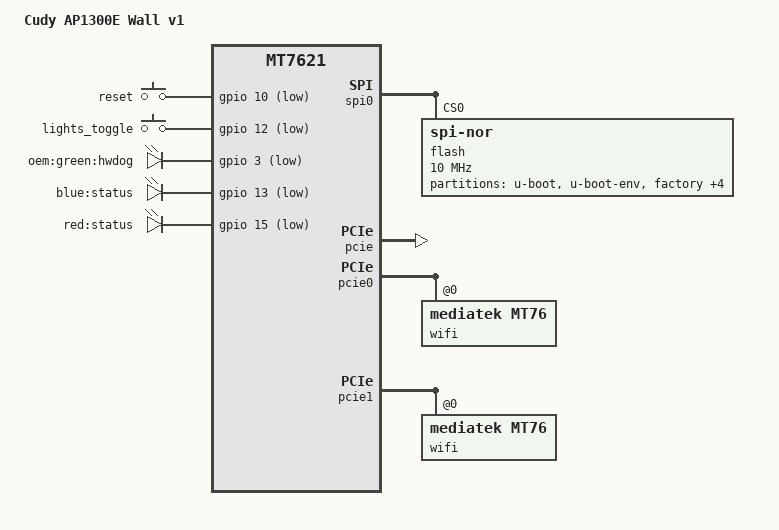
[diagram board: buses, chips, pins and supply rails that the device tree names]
// SPDX-License-Identifier: GPL-2.0-or-later OR MIT

#include "mt7621.dtsi"

#include <dt-bindings/input/input.h>
#include <dt-bindings/leds/common.h>
#include <dt-bindings/gpio/gpio.h>

/ {
	compatible = "cudy,ap1300e-wall-v1", "mediatek,mt7621-soc";
	model = "Cudy AP1300E Wall v1";
	
	aliases {
		led-boot = &led_sys;
		led-failsafe = &led_sys;
		led-running = &led_sys;
		led-upgrade = &led_sys;		
		label-mac-device = &gmac0;
	};

	chosen {
		bootargs = "console=ttyS0,115200";
	};

	keys {
		compatible = "gpio-keys";

		reset {
			label = "reset";
			gpios = <&gpio 10 GPIO_ACTIVE_LOW>;
			linux,code = <KEY_RESTART>;
		};

		lights-toggle {
			label = "lights_toggle";
			gpios = <&gpio 12 GPIO_ACTIVE_LOW>;
			linux,code = <KEY_LIGHTS_TOGGLE>;
		};
	};

	leds {
		compatible = "gpio-leds";

		/* Exact OEM GPIO3 watchdog representation: oem:green:hwdog,
		 * active-low, LED timer 1000 ms on / 1000 ms off.
		 * The default trigger starts before userspace; the R84 preinit
		 * script sets both timer periods to the OEM values.
		 */
		hwdog {
			label = "oem:green:hwdog";
			gpios = <&gpio 3 GPIO_ACTIVE_LOW>;
			linux,default-trigger = "timer";
			default-state = "off";
		};

		led_sys: led-blue {
			label = "blue:status";
			gpios = <&gpio 13 GPIO_ACTIVE_LOW>;
		};

		led-red {
			label = "red:status";
			gpios = <&gpio 15 GPIO_ACTIVE_LOW>;
		};
	};



};

&spi0 {
	status = "okay";

	flash@0 {
		compatible = "jedec,spi-nor";
		reg = <0>;
		spi-max-frequency = <10000000>;
		partitions {
			compatible = "fixed-partitions";
			#address-cells = <1>;
			#size-cells = <1>;

			partition@0 {
				label = "u-boot";
				reg = <0x0 0x30000>;
				/* Writable ONLY for explicit R84 full-U-Boot sysupgrade. */
			};

			partition@30000 {
				label = "u-boot-env";
				reg = <0x30000 0x10000>;
				read-only;
			};

			partition@40000 {
				label = "factory";
				reg = <0x40000 0x10000>;
				read-only;

				nvmem-layout {
					compatible = "fixed-layout";
					#address-cells = <1>;
					#size-cells = <1>;

					eeprom_factory_0: eeprom@0 {
						reg = <0x0 0x400>;
					};

					eeprom_factory_8000: eeprom@8000 {
						reg = <0x8000 0x4da8>;
					};
				};
			};

			partition@50000 {
				compatible = "denx,uimage";
				label = "firmware";
				reg = <0x50000 0xf80000>;
			};

			partition@fd0000 {
				label = "debug";
				reg = <0xfd0000 0x10000>;
				read-only;
			};

			partition@fe0000 {
				label = "backup";
				reg = <0xfe0000 0x10000>;
				read-only;
			};

			partition@ff0000 {
				label = "bdinfo";
				reg = <0xff0000 0x10000>;
				read-only;

				nvmem-layout {
					compatible = "fixed-layout";
					#address-cells = <1>;
					#size-cells = <1>;

					macaddr_bdinfo_de00: macaddr@de00 {
						compatible = "mac-base";
						reg = <0xde00 0x6>;
						#nvmem-cell-cells = <1>;
					};
				};
			};
		};
	};
};

&pcie {
	status = "okay";
};


&pcie0 {
	wifi@0,0 {
		compatible = "mediatek,mt76";
		reg = <0x0000 0 0 0 0>;
		nvmem-cells = <&eeprom_factory_0>;
		nvmem-cell-names = "eeprom";
		ieee80211-freq-limit = <2400000 2500000>;
	};
};

&pcie1 {
	wifi@1,0 {
		compatible = "mediatek,mt76";
		reg = <0x0000 0 0 0 0>;
		nvmem-cells = <&eeprom_factory_8000>;
		nvmem-cell-names = "eeprom";
		ieee80211-freq-limit = <5000000 6000000>;
	};
};

&gmac0 {
	nvmem-cells = <&macaddr_bdinfo_de00 0>;
	nvmem-cell-names = "mac-address";
};

&switch0 {
	ports {
		/* R84 EXPERIMENTAL WAN mapping: PHY 1 has link, PHY 4 has none.
		 * This overrides OEM swconfig's port-4 WAN assignment for testing.
		 * Verify cable-to-PHY mapping before treating as production-ready.
		 */
		port@0 {
			status = "okay";
			label = "lan";
		};

		port@1 {
			status = "okay";
			label = "wan";
		};
	};
};

&state_default {
	gpio {
		groups = "wdt", "jtag", "uart2";
		function = "gpio";
	};
};
